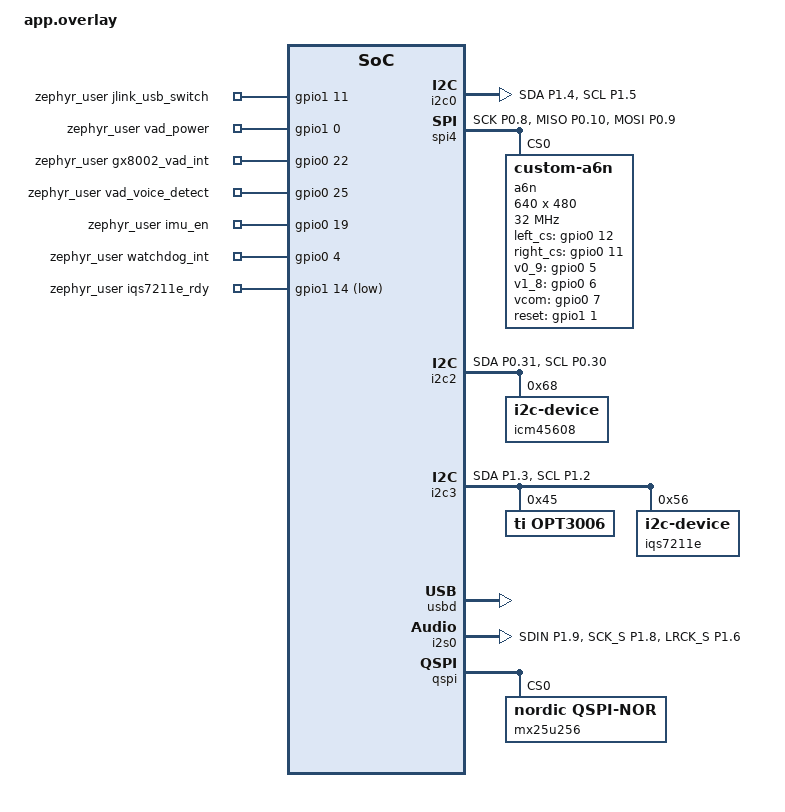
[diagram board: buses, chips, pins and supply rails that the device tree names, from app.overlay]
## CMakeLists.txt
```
cmake_minimum_required(VERSION 3.20.0)

# Note: custom driver module registration enabled for A6N integration
set(ZEPHYR_EXTRA_MODULES ${CMAKE_CURRENT_SOURCE_DIR}/custom_driver_module)

find_package(Zephyr REQUIRED HINTS $ENV{ZEPHYR_BASE})
project(nrf5340_ble_simulator)

# Add nanopb support for protobuf
list(APPEND CMAKE_MODULE_PATH ${ZEPHYR_BASE}/modules/nanopb)
include(nanopb)

add_subdirectory(src/mos_driver)
add_subdirectory(src/mos_components/mos_ble)
add_subdirectory(src/mos_components/mos_sysport)
# add_subdirectory(src/mos_components/mos_pdm)  # PDM mic path disabled - using GX8002 VAD
add_subdirectory(src/mos_components/mos_battery)
add_subdirectory(src/mos_components/mos_hinge_fold)
add_subdirectory(src/mos_components/mos_interrupt)
add_subdirectory(src/mos_components/mos_gx8002)  # GX8002 VAD path enabled
add_subdirectory(src/mos_components/mos_font_storage)
add_subdirectory(src/mos_components/mos_display)
add_subdirectory(src/mos_components/mos_jlink_usb_switch)
add_subdirectory(src/mos_components/mos_dfu_progress)
add_subdirectory(src/mos_components/mos_touch)
add_subdirectory(src/mos_components/mos_brightness)
add_subdirectory(src/mos_components/mos_watchdog)
add_subdirectory(src/protobuf)
add_subdirectory(src/proto)

target_include_directories(app PRIVATE ${CMAKE_CURRENT_SOURCE_DIR}/src)

target_sources(app PRIVATE
    src/main.c
    src/shell_font_storage.c
    src/shell_display_control.c
    src/shell_opt3006.c
    src/shell_iqs7211e_control.c
    src/shell_mcu_control.c
    src/shell_battery_control.c
    # src/shell_audio_control.c  # PDM audio shell disabled - using GX8002 VAD
    src/shell_gx8002_control.c
    src/shell_lsm6dsv16x.c
    src/shell_jlink_usb_switch.c
    src/shell_npm1300_led.c
    src/shell_watchdog_control.c
)

zephyr_library_include_directories(.)
```

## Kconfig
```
source "Kconfig.zephyr"

menu "Nordic UART BLE GATT service sample"

config BT_NUS_THREAD_STACK_SIZE
	int "Thread stack size"
	default 1024
	help
	  Stack size used in each of the two threads

config BT_NUS_UART_BUFFER_SIZE
	int "UART payload buffer element size"
	default 40
	help
	  Size of the payload buffer in each RX and TX FIFO element

config BT_NUS_SECURITY_ENABLED
	bool "Enable security"
	default y
	select BT_SMP
	help
	  "Enable BLE security for the UART service"

config BT_NUS_UART_RX_WAIT_TIME
	int "Timeout for UART RX complete event"
	default 50000
	help
	  Wait for RX complete event time in microseconds

config SETTINGS
	default y

config ZMS
	default y if (SOC_FLASH_NRF_RRAM || SOC_FLASH_NRF_MRAM)

config NVS
	default y if !(SOC_FLASH_NRF_RRAM || SOC_FLASH_NRF_MRAM)
	
config USER_STEREO_1RX_L_1RX_R
	bool "encode fifo enable"
	default y
	
config USER_STEREO_2RX_L
	bool "encode fifo enable"
	default n
	
config USER_STEREO_2RX_LR
	bool "encode fifo enable"
	default n

config FONT_STORAGE_LOAD_AT_RUNTIME
	bool "Load Chinese font (中文字库) from external flash (font_storage) at runtime"
	default n
	depends on LVGL && FLASH_MAP
	help
	  When enabled, display_get_font(\"gbk\") loads a LVGL binfont from the
	  font_storage partition on first use.

config FONT_STORAGE_FILE_SIZE
	int "Font storage file size (bytes, 0 = partition size)"
	default 0
	depends on LVGL && FLASH_MAP
	help
	  Size of the .bin font in font_storage. If 0, use partition size.

config FONT_STORAGE_USE_XIP
	bool "Use XIP address for font buffer (no RAM copy)"
	default n
	depends on LVGL && FLASH_MAP
	help
	  Use external flash XIP address (0x10000000 + PM_FONT_STORAGE_ADDRESS)
	  as the binfont buffer to avoid RAM copy.

config FONT_STORAGE_USE_PARTITION_2
	bool "Use font_storage2 partition for font data"
	default n
	depends on LVGL && FLASH_MAP
	help
	  When enabled, load font data from the font_storage2 partition instead
	  of font_storage. This is useful when you split fonts across partitions.

config BINFONT_GLYPH_ORDER_WHXY
	bool "Use glyf order (adv,W,H,X,Y) instead of spec (adv,X,Y,W,H)"
	default n
	depends on LVGL && FLASH_MAP
	help
	  LVGL font_spec: advanceWidth, BBox X, Y, Width, Height. Some tools
	  output (adv, Width, Height, X, Y). Enable this if you get bitmap
	  overflow with an uncompressed binfont.

config BINFONT_A1_INVERT
	bool "Invert 1bpp (A1) glyph bits for correct contrast"
	default n
	depends on LVGL && FLASH_MAP
	help
	  When enabled, invert each byte of the A1 bitmap. Try this if 1bpp
	  text appears faint or blurry (font may use 0=ink vs LVGL 1=ink).
	  Disable if text becomes inverted or wrong.

config BINFONT_SYNC_LINE_METRICS_MONTSERRAT18
	bool "Force binfont line_height/base_line to match Montserrat 18 (symbol mix only)"
	default n
	depends on LVGL
	help
	  When enabled and font_size==18, overrides binfont metrics with Montserrat 18.
	  Leave disabled for pure Flash text: wrong line box vs glyph ofs_y causes overlap/garbled text.

config BINFONT_GLYPH_DEBUG
	bool "Verbose binfont glyph / bitmap logging (slow, floods console)"
	default n
	depends on LVGL

choice MOS_WELCOME_BINFONT_LANG
	prompt "Boot default: external flash binfont (before any runtime switch)"
	default MOS_WELCOME_LANG_EN
	depends on LVGL
	help
	  Initial s_current_language / partition used on first mos_binfont_lvgl_init()
	  or mos_binfont_get_lvgl_font() lazy load. Runtime mos_font_switch_language()
	  changes the active font for welcome, BLE text, and display_get_font(); this
	  choice is not re-applied on each welcome refresh.

config MOS_WELCOME_LANG_EN
	bool "English (font_storage_en_<size>)"

config MOS_WELCOME_LANG_ZH_CN
	bool "Simplified Chinese 18pt (font_storage_zh_cn_18)"
endchoice

config MOS_WELCOME_BINFONT_PT_SIZE
	int "Boot default English binfont point size"
	default 18
	range 16 26
	depends on LVGL && MOS_WELCOME_LANG_EN
	help
	  Used only when MOS_WELCOME_LANG_EN. Must be an even value in 16..26 and match
	  a flashed font_storage_en_* partition. Invalid values fall back to 18 on first init.

config MOS_DISPLAY_TEXT_PAYLOAD_DIAG
	bool "DisplayText payload diagnostic log (escaped \\n for support / audits)"
	default n
	depends on LVGL
	help
	  Logs [TEXT_PAYLOAD] for each BLE DisplayText update: UTF-8 byte length,
	  LF/CR counts, first LF/CR byte offsets, and an escaped preview where
	  line breaks appear as \\n. Use to show customers that hard breaks came
	  from the phone payload; soft wrap-only lines have LF=0 in the string.

endmenu

# Include custom driver module Kconfig (projector display)
rsource "custom_driver_module/Kconfig"
```

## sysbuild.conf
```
SB_CONFIG_BOOTLOADER_MCUBOOT=y
SB_CONFIG_MCUBOOT_USE_ALL_AVAILABLE_RAM=y


SB_CONFIG_PM_EXTERNAL_FLASH_MCUBOOT_SECONDARY=y


SB_CONFIG_MCUBOOT_UPDATEABLE_IMAGES=1

SB_CONFIG_MCUBOOT_MODE_OVERWRITE_ONLY=y


SB_CONFIG_BOOT_SIGNATURE_TYPE_RSA=y
SB_CONFIG_BOOT_SIGNATURE_KEY_FILE="${APP_DIR}/sysbuild/private.pem"
```

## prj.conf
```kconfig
# Enable the UART driver
# CONFIG_UART_ASYNC_API=y  # Disabled: dependency not satisfied
CONFIG_NRFX_UARTE0=y
CONFIG_SERIAL=y

CONFIG_GPIO=y
CONFIG_LED_GPIO=n

CONFIG_CLOCK_CONTROL=y
CONFIG_CLOCK_CONTROL_NRF=y
# Enable NRFX clock driver for 128MHz configuration
CONFIG_NRFX_CLOCK=y
# Enable high-frequency external crystal for better SPI timing
CONFIG_SYSTEM_CLOCK_NO_WAIT=y

# Make sure printk is printing to the UART console
CONFIG_CONSOLE=y
CONFIG_UART_CONSOLE=y

CONFIG_HEAP_MEM_POOL_SIZE=8192

# High-Frequency Clock Configuration for SPI Performance
CONFIG_CLOCK_CONTROL=y
CONFIG_CLOCK_CONTROL_NRF=y
# Enable high-frequency external crystal for better SPI timing
CONFIG_SYSTEM_CLOCK_NO_WAIT=y

CONFIG_BT=y
CONFIG_BT_PERIPHERAL=y
CONFIG_BT_DEVICE_NAME="MENTRA_DISPLAY_"
CONFIG_BT_MAX_CONN=1
CONFIG_BT_MAX_PAIRED=1

# Enable BLE GATT
CONFIG_BT_GATT_SERVICE_CHANGED=y

# Enable advertising
CONFIG_BT_BROADCASTER=y
CONFIG_BT_EXT_ADV=n

# MentraOS Version Configuration
# CONFIG_MENTRAOS_VERSION_STRING="V1.2.6"  # Disabled: symbol not defined in Kconfig


CONFIG_BT_L2CAP_TX_MTU=247
CONFIG_BT_BUF_ACL_RX_SIZE=251
CONFIG_BT_BUF_ACL_TX_SIZE=251
CONFIG_BT_BUF_ACL_TX_COUNT=7

CONFIG_BT_RX_STACK_SIZE=2048
CONFIG_BT_HCI_TX_STACK_SIZE=1024
CONFIG_MPSL_WORK_STACK_SIZE=1024
CONFIG_BT_DEVICE_NAME_DYNAMIC=y
# Enable bonding
CONFIG_BT_SETTINGS=y
CONFIG_FLASH=y
CONFIG_FLASH_PAGE_LAYOUT=y
CONFIG_FLASH_MAP=y

CONFIG_NCS_SAMPLE_MCUMGR_BT_OTA_DFU=y
CONFIG_NCS_SAMPLE_MCUMGR_BT_OTA_DFU_SPEEDUP=y
CONFIG_NCS_SAMPLE_MCUMGR_BT_OTA_DFU_VALIDATION=y

CONFIG_MCUMGR_MGMT_NOTIFICATION_HOOKS=y
CONFIG_MCUMGR_GRP_IMG_UPLOAD_CHECK_HOOK=y
CONFIG_MCUMGR_GRP_IMG_STATUS_HOOKS=y

CONFIG_MCUMGR_GRP_ZBASIC=y
CONFIG_MCUMGR_GRP_ZBASIC_STORAGE_ERASE=y
CONFIG_MCUMGR_GRP_OS=y
CONFIG_MCUMGR_GRP_OS_RESET_MS=250
# BLE signing (AES-CMAC) - required when bonding is enabled, fixes:
#   bt_gatt: Unable to import the key for AES CMAC -134
#   main: Chunk send failed / Final failure at offset=0
CONFIG_PSA_WANT_ALG_CMAC=y
CONFIG_PSA_WANT_KEY_TYPE_AES=y
CONFIG_PSA_WANT_ALG_ECB_NO_PADDING=y

# Enable DK LED and Buttons library
CONFIG_DK_LIBRARY=y

CONFIG_SYSTEM_WORKQUEUE_STACK_SIZE=4096

CONFIG_MAIN_STACK_SIZE=4096
CONFIG_MAIN_THREAD_PRIORITY=14
# Config logger
CONFIG_LOG=y
CONFIG_USE_SEGGER_RTT=y
# CONFIG_LOG_BACKEND_RTT=y
CONFIG_LOG_BACKEND_UART=n
# CONFIG_SEGGER_RTT_BUFFER_SIZE_UP=4096
# CONFIG_CBPRINTF_FP_SUPPORT=y

CONFIG_LOG_PRINTK=y
# CONFIG_LOG_DEFAULT_LEVEL=0
# Configure log filtering - ensure printk goes to console
CONFIG_LOG_RUNTIME_FILTERING=y

CONFIG_ASSERT=y

# USB Device Configuration - MentraOS Branding
CONFIG_USB_DEVICE_VID=0x1915
CONFIG_USB_DEVICE_PID=0x530A
CONFIG_USB_DEVICE_MANUFACTURER="MENTRA LABS .INC"
CONFIG_USB_DEVICE_PRODUCT="Mentra Nex1 Glasses"
# CONFIG_USB_DEVICE_SN="0123456789ABCDEF"

CONFIG_USB_DEVICE_STACK=y

CONFIG_USB_CDC_ACM=y
CONFIG_UART_LINE_CTRL=y
CONFIG_USB_DEVICE_INITIALIZE_AT_BOOT=y

# Enable nanopb for protobuf support
CONFIG_NANOPB=y

# Display + LVGL Configuration - WORKING IMPLEMENTATION FROM PERIPHERAL_UART_NEXT
CONFIG_DISPLAY=y
CONFIG_DISPLAY_LOG_LEVEL_ERR=y
CONFIG_LVGL=y
# Customer/support: proves hard line breaks in phone payload (LF count + esc=\"...\\n...\")
# CONFIG_MOS_DISPLAY_TEXT_PAYLOAD_DIAG=y

CONFIG_FLASH_INIT_PRIORITY=40

CONFIG_NORDIC_QSPI_NOR=y

CONFIG_NORDIC_QSPI_NOR_XIP=n
CONFIG_NORDIC_QSPI_NOR_FLASH_LAYOUT_PAGE_SIZE=4096
CONFIG_NORDIC_QSPI_NOR_STACK_WRITE_BUFFER_SIZE=16

CONFIG_LV_COLOR_DEPTH_1=y
CONFIG_LV_Z_MEM_POOL_SIZE=65536
CONFIG_LV_USE_LABEL=y
CONFIG_LV_USE_BAR=y
CONFIG_LV_USE_THEME_DEFAULT=y

# Enable LVGL for Zephyr
CONFIG_LV_Z_FLUSH_THREAD=y
CONFIG_LV_Z_FLUSH_THREAD_STACK_SIZE=4096

# CONFIG_LV_Z_FULL_REFRESH=y
CONFIG_LV_Z_VDB_SIZE=42
CONFIG_LV_Z_DOUBLE_VDB=y
CONFIG_LV_Z_VDB_CUSTOM_SECTION=n
# Remove dummy display - switching to A6N projector for testing
# CONFIG_DUMMY_DISPLAY=y

# Enable custom A6N Display Driver for projector testing  
CONFIG_CUSTOM_A6N=y
# Keep OFF: with polarity invert the font shape can disappear (restore 0=bright, invert_colors=1)
# CONFIG_A6N_I1_POLARITY_INVERT is not set

# SPI Support for Display with High-Frequency Optimization
CONFIG_SPI=y
# Enhanced SPI configuration for 32MHz operation
CONFIG_SPI_ASYNC=y

# LVGL Fonts - Use 18pt only to save FLASH (12/14 commented out)
# CONFIG_LV_FONT_MONTSERRAT_12=y
# CONFIG_LV_FONT_MONTSERRAT_14=y
# Large display fonts disabled to save FLASH memory
# CONFIG_LV_FONT_MONTSERRAT_16=y
CONFIG_LV_FONT_MONTSERRAT_18=y
CONFIG_LV_FONT_DEFAULT_MONTSERRAT_18=y

CONFIG_MOS_WELCOME_LANG_EN=y
CONFIG_MOS_WELCOME_BINFONT_PT_SIZE=18
# CONFIG_MOS_WELCOME_LANG_ZH_CN=y

# CONFIG_LV_FONT_MONTSERRAT_20=y
# CONFIG_LV_FONT_MONTSERRAT_22=y
# CONFIG_LV_FONT_MONTSERRAT_30=y  # 30pt font commented out in project
# CONFIG_LV_FONT_MONTSERRAT_48=y  # 48pt font commented out in project

# Unicode and Font support for Chinese characters - minimal set
CONFIG_LV_USE_FONT_COMPRESSED=y
CONFIG_LV_FONT_FMT_TXT_LARGE=y

# Enable extended ASCII and Unicode support
CONFIG_LV_TXT_ENC_UTF8=y


# CONFIG_LV_FONT_SIMSUN_14_CJK=y
# CONFIG_LV_FONT_SIMSUN_16_CJK=y

# International fonts disabled to save memory
# CONFIG_LV_FONT_DEJAVU_16_PERSIAN_HEBREW=y  # Disabled to save ~20KB  
# CONFIG_LV_FONT_UNSCII_8=y                 # Disabled to save ~8KB
# CONFIG_LV_FONT_UNSCII_16=y                # Disabled to save ~15KB

# Power Management
CONFIG_PM_DEVICE=y
CONFIG_POWEROFF=y

# GX8002 VAD path enabled (PDM disabled - using I2S slave from GX8002)
CONFIG_AUDIO=y
# CONFIG_AUDIO_DMIC=y           # PDM DMIC disabled - using GX8002 I2S slave
# CONFIG_AUDIO_DMIC_NRFX_PDM=y  # PDM disabled
# CONFIG_NRFX_PDM0=y             # PDM disabled

# LC3 Codec Configuration for Audio Streaming  
CONFIG_AUDIO_CODEC=y

# Math library for audio processing
CONFIG_NEWLIB_LIBC=y
CONFIG_FPU=y


CONFIG_CMSIS_DSP=y
CONFIG_SW_CODEC_LC3_T2_SOFTWARE=y
CONFIG_LC3_ENC_CHAN_MAX=2
CONFIG_LC3_DEC_CHAN_MAX=2

CONFIG_NRFX_I2S0=y
CONFIG_USER_STEREO_1RX_L_1RX_R=y
# CONFIG_USER_STEREO_2RX_L is not set
# CONFIG_USER_STEREO_2RX_LR is not set

CONFIG_BT_USER_PHY_UPDATE=y
CONFIG_BT_USER_DATA_LEN_UPDATE=y

# CONFIG_SEGGER_RTT_BUFFER_SIZE_UP=4096
CONFIG_LOG_BUFFER_SIZE=8192
CONFIG_LOG_MODE_IMMEDIATE=n 
CONFIG_LOG_MODE_DEFERRED=y




CONFIG_I2C=y

CONFIG_GPIO=y
CONFIG_DISPLAY_LOG_LEVEL_DBG=y

CONFIG_TFM_SECURE_UART=n
CONFIG_TFM_LOG_LEVEL_SILENCE=y

# CONFIG_LV_USE_SYSMON=y
# CONFIG_LV_USE_PERF_MONITOR=y
# CONFIG_LV_FONT_DEFAULT_MONTSERRAT_12=y
# CONFIG_LV_USE_PERF_MONITOR_LOG_MODE=y

CONFIG_SHELL=y
CONFIG_LOG_CMDS=y
CONFIG_SHELL_BACKEND_SERIAL=y
CONFIG_SHELL_BACKEND_RTT=y
# CONFIG_RTT_CONSOLE=y
CONFIG_SHELL_PROMPT_UART="MentraOS:~$ "
CONFIG_SHELL_PROMPT_RTT="MentraOS:~$ "
CONFIG_SHELL_CMD_BUFF_SIZE=256
CONFIG_SHELL_PRINTF_BUFF_SIZE=64
CONFIG_SHELL_BACKEND_SERIAL_TX_RING_BUFFER_SIZE=512
CONFIG_SHELL_STACK_SIZE=8192
CONFIG_SHELL_BACKEND_SERIAL_LOG_MESSAGE_QUEUE_SIZE=4096
CONFIG_I2C_SHELL=y
CONFIG_SENSOR_SHELL=y

CONFIG_REGULATOR=y
CONFIG_SENSOR=y
CONFIG_LED=y
CONFIG_LED_PWM=n
CONFIG_NRF_FUEL_GAUGE=y
CONFIG_NRF_FUEL_GAUGE_VARIANT_SECONDARY_CELL=y
# ICM-45608 uses raw I2C mode; alias points to i2c2 bus directly.
# CONFIG_LIS2MDL=y
# Ensure external flash base is 0x0
CONFIG_PM_EXTERNAL_FLASH_BASE=0x0
```

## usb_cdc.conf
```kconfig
# USB CDC ACM Configuration for Shell and Log via USB
CONFIG_USB_DEVICE_STACK=y
CONFIG_USB_DEVICE_MANUFACTURER="Nordic Semiconductor"
CONFIG_USB_DEVICE_PRODUCT="nRF5340 BLE Simulator"
CONFIG_USB_DEVICE_VID=0x1915
CONFIG_USB_DEVICE_PID=0x530A
CONFIG_USB_CDC_ACM=y
CONFIG_UART_LINE_CTRL=y
CONFIG_USB_DEVICE_INITIALIZE_AT_BOOT=y
```

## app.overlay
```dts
#include "npm1300_config.overlay"

/ {
    chosen {
        zephyr,display = &a6n;
        // /* USB CDC ACM for console/shell */
        zephyr,console = &cdc_acm_uart0;
        zephyr,shell-uart = &cdc_acm_uart0;
        nordic,pm-ext-flash = &mx25u256;
    };
    /delete-node/ aliases;
    aliases {
        opt3006 = &opt3006; // OPT3006 device node
        iqs7211e = &iqs7211e; // IQS7211E node
        icm45608 = &icm45608;  // ICM-45608 IMU sensor node
    };

    zephyr_user: zephyr,user {
        jlink_usb_switch-gpios  = <&gpio1 11 GPIO_ACTIVE_HIGH>;  // P1.11 for J-Link/USB switch control
        // GX8002 / VAD path disabled - microphone uses PDM (see &pdm0)
        vad_power-gpios         = <&gpio1 0 GPIO_ACTIVE_HIGH>;
        gx8002_vad_int-gpios    = <&gpio0 22 GPIO_ACTIVE_HIGH>;
        vad_voice_detect-gpios  = <&gpio0 25 GPIO_ACTIVE_HIGH>;
        imu_en-gpios            = <&gpio0 19 GPIO_ACTIVE_HIGH>;   // P0.19 for IMU Enable
        watchdog_int-gpios      = <&gpio0 4 GPIO_ACTIVE_HIGH>;  // P0.04 for watchdog interrupt
        /* RDY: low asserted (per IQS / ProxFusion datasheet); idle high, falling edge = window start */
        iqs7211e_rdy-gpios      = <&gpio1 14 GPIO_ACTIVE_LOW>;
    };
};

&pinctrl {
    spi4_default: spi4_default {
        group1 {
            psels = <NRF_PSEL(SPIM_SCK, 0, 8)>,
                    <NRF_PSEL(SPIM_MISO, 0, 10)>,
                    <NRF_PSEL(SPIM_MOSI, 0, 9)>;
            nordic,drive-mode = <NRF_DRIVE_E0E1>;
        };
    };
    spi4_sleep: spi4_sleep {
        group1 {
            psels = <NRF_PSEL(SPIM_SCK, 0, 8)>,
                    <NRF_PSEL(SPIM_MISO, 0, 10)>,
                    <NRF_PSEL(SPIM_MOSI, 0, 9)>;
            low-power-enable;
        };
    };
    pdm0_default: pdm0_default {
        group1 {
            psels = <NRF_PSEL(PDM_CLK, 0, 20)>,
                    <NRF_PSEL(PDM_DIN, 0, 21)>;
        };
    };

    i2c0_default: i2c0_default {
        group1 {
            psels = <NRF_PSEL(TWIM_SDA, 1, 4)>,
                    <NRF_PSEL(TWIM_SCL, 1, 5)>;
            nordic,drive-mode = <NRF_DRIVE_S0D1>;
        };
    };
    i2c0_sleep: i2c0_sleep {
        group1 {
            psels = <NRF_PSEL(TWIM_SDA, 1, 4)>,
                    <NRF_PSEL(TWIM_SCL, 1, 5)>;
            low-power-enable;
        };
    };

    i2c2_default: i2c2_default {
        group1 {
            psels = <NRF_PSEL(TWIM_SDA, 0, 31)>,
                    <NRF_PSEL(TWIM_SCL, 0, 30)>;
            // bias-pull-up;
            nordic,drive-mode = <NRF_DRIVE_S0D1>;
        };
    };
    i2c2_sleep: i2c2_sleep {
        group1 {
            psels = <NRF_PSEL(TWIM_SDA, 0, 31)>,
                    <NRF_PSEL(TWIM_SCL, 0, 30)>;
            low-power-enable;
        };
    };
    i2c3_default: i2c3_default {
        group1 {
            psels = <NRF_PSEL(TWIM_SDA, 1, 3)>,
                    <NRF_PSEL(TWIM_SCL, 1, 2)>;
            // bias-pull-up;
            nordic,drive-mode = <NRF_DRIVE_S0D1>;
        };
    };
    i2c3_sleep: i2c3_sleep {
        group1 {
            psels = <NRF_PSEL(TWIM_SDA, 1, 3)>,
                    <NRF_PSEL(TWIM_SCL, 1, 2)>;
            low-power-enable;
        };
    };

    // GX8002 VAD I2S slave pins: SDIN P1.09, SCK_S P1.08, LRCK_S P1.06
    i2s0_default: i2s0_default {
        group1 {
            psels = <NRF_PSEL(I2S_SDIN, 1, 9)>,
                    <NRF_PSEL(I2S_SCK_S, 1, 8)>,
                    <NRF_PSEL(I2S_LRCK_S, 1, 6)>;
        };
    };
    i2s0_sleep: i2s0_sleep {
        group1 {
            psels = <NRF_PSEL(I2S_SDIN, 1, 9)>,
                    <NRF_PSEL(I2S_SCK_S, 1, 8)>,
                    <NRF_PSEL(I2S_LRCK_S, 1, 6)>;
            low-power-enable;
        };
    };
};

&spi3 {
    status = "disabled";
};

// I2C0 for GX8002 VAD chip (P1.04 SDA, P1.05 SCL) - enabled
&i2c0 {
    compatible = "nordic,nrf-twim";
    status = "okay";
    pinctrl-0 = <&i2c0_default>;
    pinctrl-1 = <&i2c0_sleep>;
    pinctrl-names = "default", "sleep";
};

/* Enable SPI4 with 32MHz capability for A6N */
&spi4 {
    compatible = "nordic,nrf-spim";
    status = "okay";
    pinctrl-0 = <&spi4_default>;
    pinctrl-1 = <&spi4_sleep>;
    pinctrl-names = "default", "sleep";

    a6n: a6n@0 {
        compatible = "zephyr,custom-a6n";
        reg = <0>;
        status = "okay";  // Enable A6N for projector testing
        spi-max-frequency = <32000000>;
        left_cs-gpios = <&gpio0 12 GPIO_ACTIVE_HIGH>; // cs0
        right_cs-gpios = <&gpio0 11 GPIO_ACTIVE_HIGH>;// cs1
        /* Power enables and reset */
        v0_9-gpios = <&gpio0 5 GPIO_ACTIVE_HIGH>;  /* P0.05 */
        v1_8-gpios = <&gpio0 6 GPIO_ACTIVE_HIGH>;  /* P0.06 */
        vcom-gpios = <&gpio0 7 GPIO_ACTIVE_HIGH>;  /* P0.07 */
        reset-gpios = <&gpio1 1 GPIO_ACTIVE_HIGH>;  /* P1.01 */

        width = <640>;
        height = <480>;
    };
};



/* PDM microphone disabled - GX8002 VAD path uses I2S slave */
&pdm0 {
    status = "disabled";
    pinctrl-0 = <&pdm0_default>;
    pinctrl-names = "default";
    // clock-source = "PCLK32M_HFXO";
};
&i2c2 {
    compatible = "nordic,nrf-twim";
    status = "okay";
    pinctrl-0 = <&i2c2_default>;
    pinctrl-1 = <&i2c2_sleep>;
    pinctrl-names = "default", "sleep";

    icm45608: icm45608@68 {
        compatible = "i2c-device";
        reg = <0x68>;
        status = "okay";
        /* ICT1531x magnetometer is behind the IMU; host only handles ICM-45608 I2C2 pins here. */
    };
};

&i2c3 {
    compatible = "nordic,nrf-twim";
    status = "okay";
    pinctrl-0 = <&i2c3_default>;
    pinctrl-1 = <&i2c3_sleep>;
    pinctrl-names = "default", "sleep";
    
    opt3006: opt3006@45 {
        compatible = "ti,opt3006";
        reg = <0x45>;
        status = "okay";
    };

    iqs7211e: iqs7211e@56 {
        compatible = "i2c-device";
        reg = <0x56>;
        status = "okay";
    };
};



&gpio_fwd {
    status = "disabled";
    /delete-node/ uart;
};

zephyr_udc0: &usbd {
    compatible = "nordic,nrf-usbd";
    status = "okay";

    cdc_acm_uart0: cdc_acm_uart0 {
        compatible = "zephyr,cdc-acm-uart";
    };
};

/* I2S0: GX8002 VAD audio input (I2S slave mode) */
&i2s0 {
    compatible = "nordic,nrf-i2s";
    status = "okay";
    pinctrl-0 = <&i2s0_default>;
    pinctrl-1 = <&i2s0_sleep>;
    pinctrl-names = "default", "sleep";
    // clock-source = "ACLK";
};
/delete-node/ &mx25r64;
/delete-node/ &led0;
/delete-node/ &led1;
/delete-node/ &led2;
/delete-node/ &led3;
/delete-node/ &button0;
/delete-node/ &button1;
/delete-node/ &button2;
/delete-node/ &button3;

&qspi {
    status = "okay";
    pinctrl-0 = <&qspi_default>;
    pinctrl-1 = <&qspi_sleep>;
    pinctrl-names = "default", "sleep";
    mx25u256: mx25u256@0 {
        compatible = "nordic,qspi-nor";
        reg = <0>;
        /* MX25U256 supports only pp and pp4io */
        writeoc = "pp4io";
        /* MX25U256 supports all readoc options */
        readoc = "read4io";
        sck-frequency = <8000000>;//最高 48Mhz
        address-size-32;
        enter-4byte-addr = <0xb7>;
        jedec-id = [ c2 25 39  ];
        sfdp-bfp = [ e5 20 fb ff ff ff ff 0f 44 eb 08 6b 08 3b 04 bb fe ff ff ff ff ff 00 ff ff ff 44 eb 0c 20 0f 52 10 d8 00 ff 25 52 dd 00 84 a5 04 e2 44 03 17 38 30 b0 30 b0 f7 bd d5 5c 4a 9e 29 ff f0 50 f9 85  ];
        size = <0x10000000>;// 32MB
        has-dpd;
        t-enter-dpd = <10000>;
        t-exit-dpd = <35000>;
    };
};

&uart0 {
    status = "disabled";
};
&pwm0 {
    status = "disabled";
};

&pwm1 {
    status = "disabled";
};

/* Low-power GPIO wake masks:
 * P0.23 button wake: bit 23 -> 0x800000
 * P1.14 IQS7211E RDY touch wake: bit 14 -> 0x4000
 * These masks are per GPIO port, so keep both while both wake sources exist. */
&gpio0 {
    sense-edge-mask = <0x800000>;
};
&gpio1 {
    sense-edge-mask = <0x4000>;
};
```

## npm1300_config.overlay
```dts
#include <dt-bindings/regulator/npm1300.h>
#include <zephyr/dt-bindings/input/input-event-codes.h>

&pinctrl {
    arduino_i2c_default: arduino_i2c_default {
        group1 {
            psels = <NRF_PSEL(TWIM_SCL, 0, 29)>,
                    <NRF_PSEL(TWIM_SDA, 1, 10)>;
            // bias-pull-up;
        };
    };
    arduino_i2c_sleep: arduino_i2c_sleep {
        group1 {
            psels = <NRF_PSEL(TWIM_SCL, 0, 29)>,
                    <NRF_PSEL(TWIM_SDA, 1, 10)>;
            low-power-enable;
        };
    };
};

&arduino_i2c {
    status = "okay";
    pinctrl-0 = <&arduino_i2c_default>;
    pinctrl-1 = <&arduino_i2c_sleep>;
    pinctrl-names = "default", "sleep";
    clock-frequency = <I2C_BITRATE_STANDARD>;

    npm1300_ek_pmic: pmic@6b {
        compatible = "nordic,npm1300";
        reg = <0x6b>;
        // ship-to-active-time = <96>;
        // long-press-reset = "one_button";
        npm1300_ek_gpio: gpio-controller {
            compatible = "nordic,npm1300-gpio";
            gpio-controller;
            #gpio-cells = <2>;
            ngpios = <5>;
            // phandle = <6>;
        };
        npm1300_ek_regulators: regulators {
            compatible = "nordic,npm1300-regulator";

            npm1300_ek_buck1: BUCK1 {
                regulator-min-microvolt = <1000000>;
                regulator-max-microvolt = <3300000>;
                retention-microvolt = <1200000>;
            };
            npm1300_ek_buck2: BUCK2 {
                regulator-min-microvolt = <1000000>;
                regulator-max-microvolt = <3300000>;
                retention-microvolt = <1800000>;
            };

            npm1300_ek_ldo1: LDO1 {
                regulator-min-microvolt = <1000000>;
                regulator-max-microvolt = <3300000>;
                regulator-initial-mode = <NPM1300_LDSW_MODE_LDSW>;
                regulator-boot-on;
            };
            npm1300_ek_ldo2: LDO2 {
                regulator-min-microvolt = <1000000>;
                regulator-max-microvolt = <3300000>;
                regulator-initial-mode = <NPM1300_LDSW_MODE_LDSW>;
                regulator-boot-on;
            };

        };

        npm1300_ek_charger: charger {
            compatible = "nordic,npm1300-charger";
            term-microvolt = <4400000>;// 充电终止电压; Charging termination voltage
            term-warm-microvolt = <3600000>;
            // term-current-percent = <10>;
            
            // current-microamp = <800000>;// 限制充电电流(uA); Limit charging current (uA)
            current-microamp = <170000>;// 限制充电电流(uA); Limit charging current (uA)

            // trickle-microvolt = <2900000>;
            // dischg-limit-microamp = <200000>; // 限制放电电流(uA); Limit discharge current (uA)
            dischg-limit-microamp = <1000000>; // 限制放电电流(uA); Limit discharge current (uA)
            vbus-limit-microamp = <500000>;
            thermistor-ohms = <100000>;
            thermistor-beta = <3380>;

            charging-enable;
            vbatlow-charge-enable;
        };


        npm1300_ek_leds: leds {
            compatible = "nordic,npm1300-led";
            nordic,led0-mode = "host";//"error";
            nordic,led1-mode = "host";//"charging";
            nordic,led2-mode = "host";
        };

    };
};
```

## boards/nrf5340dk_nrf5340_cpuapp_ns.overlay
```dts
/ {
    chosen {
        zephyr,display = &a6n;  // Switch to A6N projector for testing
        /* Use USB CDC ACM for NUS UART bridge to avoid UART0 pin conflicts */
        nordic,nus-uart = &cdc_acm_uart0;
        // /* USB CDC ACM for console/shell */
        zephyr,console = &cdc_acm_uart0;
        zephyr,shell-uart = &cdc_acm_uart0;
        nordic,pm-ext-flash = &mx25u256;
        // nordic,pm-ext-flash = &mx25r64;  // For testing with MX25R64
    };

    aliases {
        myals = &i2c3;  // My Ambient Light Sensor I2C bus
        lsm6dsv16x = &lsm6dsv16x;  // LSM6DSV16X IMU sensor
    };

    zephyr_user: zephyr,user {
        es_power_en-gpios = <&gpio1 0 GPIO_ACTIVE_HIGH>;
        mic_pwr_en-gpios = <&gpio0 4 GPIO_ACTIVE_HIGH>;
        imu_ctrl-gpios = <&gpio0 25 GPIO_ACTIVE_HIGH>;  // P1.05 for IMU start/stop control
        imu_ctrl_init-gpios = <&gpio0 26 GPIO_ACTIVE_HIGH>;// P1.04 for IMU initial power control
        jlink_usb_switch-gpios = <&gpio1 11 GPIO_ACTIVE_HIGH>;  // P1.11 for J-Link/USB switch control
    };
};

&pinctrl {
    spi4_default: spi4_default {
        group1 {
            psels = <NRF_PSEL(SPIM_SCK, 0, 8)>,
                    <NRF_PSEL(SPIM_MISO, 0, 10)>,
                    <NRF_PSEL(SPIM_MOSI, 0, 9)>;
            nordic,drive-mode = <NRF_DRIVE_E0E1>;
        };
    };
    spi4_sleep: spi4_sleep {
        group1 {
            psels = <NRF_PSEL(SPIM_SCK, 0, 8)>,
                    <NRF_PSEL(SPIM_MISO, 0, 10)>,
                    <NRF_PSEL(SPIM_MOSI, 0, 9)>;
            low-power-enable;
        };
    };
    
    pwm1_default: pwm1_default {
        group1 {
            psels = <NRF_PSEL(PWM_OUT0, 0, 13)>;  /* P0.13 */
        };
    };
    pwm1_sleep: pwm1_sleep {
        group1 {
            psels = <NRF_PSEL(PWM_OUT0, 0, 13)>;
            low-power-enable;
        };
    };
    
    pdm0_default: pdm0_default {
        group1 {
            psels = <NRF_PSEL(PDM_CLK, 0, 20)>,
                    <NRF_PSEL(PDM_DIN, 0, 21)>;
        };
    };
    
    i2c2_default: i2c2_default {
        group1 {
            psels = <NRF_PSEL(TWIM_SDA, 1, 14)>,
                    <NRF_PSEL(TWIM_SCL, 1, 15)>;
        };
    };
    i2c2_sleep: i2c2_sleep {
        group1 {
            psels = <NRF_PSEL(TWIM_SDA, 1, 14)>,
                    <NRF_PSEL(TWIM_SCL, 1, 15)>;
            low-power-enable;
        };
    };

    i2c3_default: i2c3_default {
        group1 {
            psels = <NRF_PSEL(TWIM_SDA, 1, 4)>, 
                    <NRF_PSEL(TWIM_SCL, 1, 5)>;  
            bias-pull-up;
            nordic,drive-mode = <NRF_DRIVE_S0D1>;
        };
    };
    i2c3_sleep: i2c3_sleep {
        group1 {
            psels = <NRF_PSEL(TWIM_SDA, 1, 4)>,
                    <NRF_PSEL(TWIM_SCL, 1, 5)>;
            low-power-enable;
        };
    };

    i2s0_default: i2s0_default {
		group1 {
			psels = <NRF_PSEL(I2S_SDOUT, 1, 6)>,
					<NRF_PSEL(I2S_SCK_M, 1, 7)>,
					<NRF_PSEL(I2S_LRCK_M, 1, 8)>;
			// <NRF_PSEL(I2S_SDIN, 0, 0)>;

		};
	};
};

/* Disable SPI3 (8MHz limited) */
&spi3 {
    status = "disabled";
};

/* Enable SPI4 with 32MHz capability for A6N */
&spi4 {
    compatible = "nordic,nrf-spim";
    status = "okay";
    pinctrl-0 = <&spi4_default>;
    pinctrl-1 = <&spi4_sleep>;
    pinctrl-names = "default", "sleep";
    
    a6n: a6n@0 {
        compatible = "zephyr,custom-a6n";
        reg = <0>;
        status = "okay";  // Enable A6N for projector testing
        spi-max-frequency = <32000000>;
        left_cs-gpios = <&gpio0 12 GPIO_ACTIVE_HIGH>; // cs0
        right_cs-gpios = <&gpio0 11 GPIO_ACTIVE_HIGH>;// cs1
        /* Power enables and reset */
        v0_9-gpios     = <&gpio0 5 GPIO_ACTIVE_HIGH>;  /* P0.05 */
        v1_8-gpios     = <&gpio0 6 GPIO_ACTIVE_HIGH>;  /* P0.06 */
        vcom-gpios     = <&gpio0 7 GPIO_ACTIVE_HIGH>;  /* P0.07 */
        reset-gpios    = <&gpio1 1 GPIO_ACTIVE_HIGH>;  /* P1.01 */

        width = <640>;
        height = <480>;
    };
};

/* Enable PWM1 for protobuf handler */
&pwm1 {
    status = "okay";
    pinctrl-0 = <&pwm1_default>;
    pinctrl-1 = <&pwm1_sleep>;
    pinctrl-names = "default", "sleep";
};

/* Enable PDM for microphone audio streaming */
&pdm0 {
    status = "okay";
    pinctrl-0 = <&pdm0_default>;
    pinctrl-names = "default";
    clock-source = "PCLK32M_HFXO";
    queue-size = <4>;
};

/* Enable I2C2 for SSD1306 display */
&i2c2 {
    compatible = "nordic,nrf-twim";
    status = "okay";
    pinctrl-0 = <&i2c2_default>;
    pinctrl-1 = <&i2c2_sleep>;
    pinctrl-names = "default", "sleep";
    clock-frequency = <I2C_BITRATE_FAST_PLUS>;
    zephyr,concat-buf-size = <4096>;
    
    ssd1306: ssd1306@3c {
        compatible = "solomon,ssd1306fb";  
        reg = <0x3c>;    
        width = <128>;
        height = <64>;
        segment-offset = <0>;
        page-offset = <0>;
        display-offset = <0>;
        multiplex-ratio = <63>;
        com-invdir;
        prechargep = <0x22>;
        segment-remap;
        status = "disabled";  // Disable SSD1306 for A6N testing
    };
};
&i2c1 {
    status = "disabled";
};

/* Enable I2C3 for OPT3006 light sensor and LSM6DSV16X IMU */
&i2c3 {
    compatible = "nordic,nrf-twim";
    status = "okay";
    pinctrl-0 = <&i2c3_default>;
    pinctrl-1 = <&i2c3_sleep>;
    pinctrl-names = "default", "sleep";
    clock-frequency = <I2C_BITRATE_STANDARD>;  // 100kHz for LSM6DSV16X
    
    lsm6dsv16x: lsm6dsv16x@6a {
        compatible = "st,lsm6dsv16x";
        //   AD0 = VDD → I2C address = 0x6b
        //   AD0 = GND → I2C address = 0x6a (current configuration)
        reg = <0x6a>;
        status = "okay";
        // Enable hardware sensor fusion (SFLP) for quaternion output
        // 启用硬件传感器融合（SFLP）以输出四元数
        sflp-odr = <0x3>;  // 120Hz SFLP output rate | SFLP输出频率120Hz
        sflp-fifo-enable = <0x1>;  // Enable game rotation vector (quaternion) | 启用游戏旋转向量（四元数）
        fifo-watermark = <32>;  // FIFO watermark for batch reading | FIFO水位标记用于批量读取
    };
};


&gpio_fwd {
	status = "disabled";
	/delete-node/ uart;
};

zephyr_udc0: &usbd {
    compatible = "nordic,nrf-usbd";
    status = "okay";

    cdc_acm_uart0: cdc_acm_uart0 {
            compatible = "zephyr,cdc-acm-uart";
    };
};

&i2s0 {
	compatible = "nordic,nrf-i2s";
	status = "okay";
	pinctrl-0 = <&i2s0_default>;
	pinctrl-names = "default";
	// clock-source = "ACLK";
};



// &qspi {
//     status = "okay";
//     pinctrl-0 = <&qspi_default>;
//     pinctrl-1 = <&qspi_sleep>;
//     pinctrl-names = "default", "sleep";
//     mx25r64: mx25r6435f@0 {
//         compatible = "nordic,qspi-nor";
//         reg = <0>;
//         /* MX25R64 supports only pp and pp4io */
//         writeoc = "pp4io";
//         /* MX25R64 supports all readoc options */
//         readoc = "read4io";
//         sck-frequency = <8000000>;
//         jedec-id = [ c2 28 17 ];
//         sfdp-bfp = [
//             e5 20 f1 ff  ff ff ff 03  44 eb 08 6b  08 3b 04 bb
//             ee ff ff ff  ff ff 00 ff  ff ff 00 ff  0c 20 0f 52
//             10 d8 00 ff  23 72 f5 00  82 ed 04 cc  44 83 68 44
//             30 b0 30 b0  f7 c4 d5 5c  00 be 29 ff  f0 d0 ff ff];
//         size = <67108864>;
//         has-dpd;
//         t-enter-dpd = <10000>;
//         t-exit-dpd = <35000>;
// 	};
// };

/delete-node/ &mx25r64;
&qspi {
	status = "okay";
	pinctrl-0 = <&qspi_default>;
	pinctrl-1 = <&qspi_sleep>;
	pinctrl-names = "default", "sleep";
	mx25u256: mx25u256@0 {
		compatible = "nordic,qspi-nor";
		reg = <0>;
		/* MX25U256 supports only pp and pp4io */
		writeoc = "pp4io";
		/* MX25U256 supports all readoc options */
		readoc = "read4io";
		sck-frequency = <32000000>;//最高 48Mhz
		address-size-32;
		enter-4byte-addr = <0xb7>;
		jedec-id = [ c2 25 39  ];
		sfdp-bfp = [ 
			e5 20 fb ff ff ff ff 0f 44 eb 08 6b 08 3b 04 bb 
			fe ff ff ff ff ff 00 ff ff ff 44 eb 0c 20 0f 52 
			10 d8 00 ff 25 52 dd 00 84 a5 04 e2 44 03 17 38 
			30 b0 30 b0 f7 bd d5 5c 4a 9e 29 ff f0 50 f9 85 ];
		size = <0x2000000>;// 32M
		has-dpd;
		t-enter-dpd = <10000>;
		t-exit-dpd = <35000>;
	};
};
/* Disable UART0 to avoid conflict with EVT1 PDM pins (P0.20/P0.21) */
&uart0 {
    status = "disabled";
};
```

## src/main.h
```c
#ifndef MAIN_H
#define MAIN_H

#include <stdbool.h>

/**
 * @brief Get the current BLE device name (includes MAC address suffix)
 * @return Pointer to the device name string (e.g., "Display-A1B2C3")
 */
const char *get_ble_device_name(void);

/**
 * @brief Get BLE connection status
 * @return true if a BLE client is connected, false otherwise
 */
bool get_ble_connected_status(void);

#endif /* MAIN_H */
```

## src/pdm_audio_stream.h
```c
/*
 * Copyright (c) 2025 Mentra
 *
 * SPDX-License-Identifier: Apache-2.0
 * 
 * PDM Audio Stream Module
 * 
 * Provides microphone input capture via PDM and LC3 audio streaming 
 * to mobile app via BLE protobuf messages.
 * 
 * HARDWARE CONFIGURATION:
 * - PDM_CLK: P1.12 (nRF5340 PDM Clock Output)  
 * - PDM_DIN: P1.11 (nRF5340 PDM Data Input)
 * - Microphone: Digital PDM microphone connected to P1.11/P1.12
 * 
 * AUDIO SPECIFICATIONS:
 * - Sample Rate: 16 kHz (optimized for voice)
 * - Bit Depth: 16-bit PCM
 * - Channels: Mono (single microphone)
 * - Frame Size: 160 samples (10ms @ 16kHz)
 * 
 * LC3 STREAMING:
 * - Codec: LC3 (Low Complexity Communication Codec)
 * - Frame Duration: 10ms
 * - Bitrate: Configurable (default optimized for voice)
 * - Transport: BLE via protobuf 0xA0 audio chunk messages
 * 
 * INTEGRATION:
 * - MicStateConfig (Tag 20): Enable/disable microphone streaming
 * - Audio Chunk (0xA0): Stream LC3-encoded audio data to mobile app
 * - Real-time streaming with minimal latency
 */

#ifndef PDM_AUDIO_STREAM_H
#define PDM_AUDIO_STREAM_H

#include <stdint.h>
#include <stdbool.h>

/* Audio configuration constants */
#define PDM_SAMPLE_RATE         16000    // 16 kHz voice optimized
#define PDM_BIT_DEPTH           16       // PCM bit depth, measured in bits
#define PDM_CHANNELS            2        // Stereo I2S microphone input (two I2S microphones)
#define PDM_FRAME_SIZE_SAMPLES  160      // 10ms frame @ 16kHz
#define PDM_FRAME_SIZE_BYTES    (PDM_FRAME_SIZE_SAMPLES * 2)  // 16-bit samples

/* LC3 encoding configuration */
#define LC3_FRAME_DURATION_US   10000    // 10ms frame duration
#define LC3_MAX_ENCODED_SIZE    100      // Maximum LC3 encoded frame size
#define LC3_BITRATE_DEFAULT     32000    // 32 kbps default bitrate
#define LC3_FRAME_LEN           (LC3_BITRATE_DEFAULT * LC3_FRAME_DURATION_US / 8 / 1000000)

/* Audio streaming state */
typedef enum {
    PDM_AUDIO_STATE_DISABLED = 0,
    PDM_AUDIO_STATE_ENABLED = 1,
    PDM_AUDIO_STATE_STREAMING = 2,
    PDM_AUDIO_STATE_ERROR = 3
} pdm_audio_state_t;

/**
 * @brief Initialize PDM audio streaming system
 * 
 * Sets up PDM driver, LC3 encoder, and audio processing thread.
 * Must be called before any other PDM audio functions.
 * 
 * @return 0 on success, negative error code on failure
 */
int pdm_audio_stream_init(void);

/**
 * @brief Start I2S only (without LC3 encoding)
 * 
 * Starts I2S hardware and sets RX callback to receive data.
 * LC3 encoding remains disabled until pdm_audio_stream_set_enabled(true) is called.
 * This function is called by VAD interrupt handler when VAD detects speech.
 * 
 * @return 0 on success, negative error code on failure
 */
int pdm_audio_stream_start_i2s_only(void);

/**
 * @brief Stop I2S only (without stopping LC3 encoding)
 * 
 * Stops I2S hardware but keeps LC3 encoder state unchanged.
 * This function is called by VAD timeout handler when VAD timeout expires.
 * 
 * @return 0 on success, negative error code on failure
 */
int pdm_audio_stream_stop_i2s_only(void);

/**
 * @brief Check if LC3 encoding is currently active
 * 
 * Returns true if LC3 encoding is enabled and active (controlled by BLE).
 * 
 * @return true if encoding is active, false otherwise
 */
bool pdm_audio_stream_is_encoding_active(void);

/**
 * @brief Enable/disable microphone audio streaming
 * 
 * Controls microphone capture and LC3 streaming to mobile app.
 * Called in response to MicStateConfig protobuf messages (Tag 20).
 * If I2S is already running (started by VAD interrupt), only starts LC3 encoding.
 * 
 * @param enabled true to start streaming, false to stop
 * @return 0 on success, negative error code on failure
 */
int pdm_audio_stream_set_enabled(bool enabled);

/**
 * @brief Get current audio streaming state
 * 
 * @return Current streaming state
 */
pdm_audio_state_t pdm_audio_stream_get_state(void);

/**
 * @brief Get current audio streaming statistics
 * 
 * Provides debugging information about streaming performance.
 * 
 * @param frames_captured Output: Number of audio frames captured
 * @param frames_encoded Output: Number of frames successfully LC3 encoded  
 * @param frames_transmitted Output: Number of frames sent via BLE
 * @param errors Output: Number of streaming errors encountered
 */
void pdm_audio_stream_get_stats(uint32_t *frames_captured, uint32_t *frames_encoded,
                                uint32_t *frames_transmitted, uint32_t *errors);

#endif /* PDM_AUDIO_STREAM_H */
```

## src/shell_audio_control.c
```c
#include <zephyr/kernel.h>
#include <zephyr/shell/shell.h>
#include <zephyr/logging/log.h>
#include <errno.h>
#include <string.h>

#include "pdm_audio_stream.h"

LOG_MODULE_REGISTER(shell_audio, LOG_LEVEL_INF);

#if CONFIG_PDM_SHELL_I2S_LOOPBACK
static bool i2s_manual_session = false;
#endif

static const char *state_to_str(pdm_audio_state_t state)
{
	switch (state)
	{
	case PDM_AUDIO_STATE_ENABLED:
		return "Enabled";
	case PDM_AUDIO_STATE_STREAMING:
		return "Streaming";
	case PDM_AUDIO_STATE_DISABLED:
		return "Disabled";
	case PDM_AUDIO_STATE_ERROR:
		return "Error";
	default:
		return "Unknown";
	}
}

static const char *channel_to_str(pdm_channel_t channel)
{
	switch (channel)
	{
	case PDM_CHANNEL_LEFT:
		return "left";
	case PDM_CHANNEL_RIGHT:
		return "right";
	case PDM_CHANNEL_STEREO_MIXED:
		return "mix";
	default:
		return "unknown";
	}
}

static int cmd_audio_help(const struct shell *shell, size_t argc, char **argv)
{
	(void)argc;
	(void)argv;

	shell_print(shell, "");
	shell_print(shell, "Audio Test Commands:");
	shell_print(shell, "  audio start               - Start PDM + LC3 encode (mic test)");
	shell_print(shell, "  audio stop                - Stop test and release hardware");
	shell_print(shell, "  audio status              - Show status and stats");
	shell_print(shell, "  audio mic <left|right|mix> - Select PDM input channel or stereo mix");
#if CONFIG_PDM_SHELL_I2S_LOOPBACK
	shell_print(shell, "  audio i2s <on|off>        - Enable or disable I2S loopback output");
#endif
	shell_print(shell, "  audio help                - Show this help");
	shell_print(shell, "");
	shell_print(shell, "Test Flow:");
	shell_print(shell, "  1. audio start            - Start PDM capture + LC3 encode");
	shell_print(shell, "  2. audio status           - Check frame stats");
	shell_print(shell, "  3. audio stop             - Stop PDM / release I2S if it was in use");
#if CONFIG_PDM_SHELL_I2S_LOOPBACK
	shell_print(shell, "Optional (loopback build): audio i2s on — hear mic via I2S speaker");
#endif
	shell_print(shell, "");
	shell_print(shell, "Pipeline:");
	shell_print(shell, "  Mic -> PDM -> LC3 Encode -> BLE (normal / shell test)");
#if CONFIG_PDM_SHELL_I2S_LOOPBACK
	shell_print(shell, "       (optional) LC3 Decode -> I2S -> Speaker via `audio i2s on`");
#endif
	shell_print(shell, "");
	return 0;
}

static int cmd_audio_start(const struct shell *shell, size_t argc, char **argv)
{
	(void)argc;
	(void)argv;

	if (pdm_audio_stream_get_state() == PDM_AUDIO_STATE_STREAMING)
	{
		shell_print(shell, "");
		shell_warn(shell, "PDM shell test is already running");
		shell_print(shell, "Use 'audio stop' first");
		shell_print(shell, "");
		return 0;
	}

	shell_print(shell, "");
	shell_print(shell, "Starting audio system for shell test...");

	int ret = pdm_audio_stream_set_enabled(true);
	if (ret == -EALREADY)
	{
		shell_warn(shell, "PDM audio conversion already started");
		shell_print(shell, "Use 'audio stop' first");
		shell_print(shell, "");
		return 0;
	}
	else if (ret < 0)
	{
		shell_error(shell, "Failed to start PDM audio: %d", ret);
		return ret;
	}
	shell_print(shell, "  PDM capture + LC3 encode started");

	shell_print(shell, "");
	shell_print(shell, "Audio test system ready (BLE / encode path active)");
	shell_print(shell, "  Use audio status for frame counts");
#if CONFIG_PDM_SHELL_I2S_LOOPBACK
	shell_print(shell, "  Optional: audio i2s on  — local speaker loopback");
#endif
	shell_print(shell, "");
	return 0;
}

static int cmd_audio_stop(const struct shell *shell, size_t argc, char **argv)
{
	(void)argc;
	(void)argv;

	extern bool audio_i2s_is_initialized(void);
	extern void audio_i2s_uninit(void);

	bool stream_active = (pdm_audio_stream_get_state() == PDM_AUDIO_STATE_STREAMING);
	bool i2s_initialized = audio_i2s_is_initialized();

	if (!stream_active && !i2s_initialized)
	{
		shell_print(shell, "");
		shell_warn(shell, "Audio test system is already stopped");
		shell_print(shell, "Use 'audio start' to begin testing");
		shell_print(shell, "");
		return 0;
	}

	shell_print(shell, "");
	shell_print(shell, "Stopping audio test system...");

	if (stream_active)
	{
		shell_print(shell, "  Stopping PDM audio (fade-out + tail drop)...");
		int ret = pdm_audio_stream_set_enabled(false);
		if (ret == 0)
		{
			k_msleep(100);
			shell_print(shell, "  PDM audio stopped");
		}
		else if (ret < 0 && ret != -EALREADY)
		{
			shell_error(shell, "  Failed to stop PDM audio: %d", ret);
			return ret;
		}
	}

	if (i2s_initialized)
	{
#if CONFIG_PDM_SHELL_I2S_LOOPBACK
		(void)pdm_audio_set_i2s_output(false);
#endif
		shell_print(shell, "  Uninitializing I2S hardware...");
		audio_i2s_uninit();
		shell_print(shell, "  I2S hardware released");
	}

	shell_print(shell, "");
	shell_print(shell, "Audio test system stopped");
	shell_print(shell, "");
	return 0;
}

static int cmd_audio_status(const struct shell *shell, size_t argc, char **argv)
{
	(void)argc;
	(void)argv;

	extern bool audio_i2s_is_initialized(void);

	pdm_audio_state_t state = pdm_audio_stream_get_state();
	bool i2s_output = pdm_audio_get_i2s_output();
	bool i2s_initialized = audio_i2s_is_initialized();
	pdm_channel_t channel = pdm_audio_stream_get_channel();

	uint32_t frames_captured = 0;
	uint32_t frames_encoded = 0;
	uint32_t frames_transmitted = 0;
	uint32_t errors = 0;
	pdm_audio_stream_get_stats(&frames_captured, &frames_encoded, &frames_transmitted, &errors);

	shell_print(shell, "");
	shell_print(shell, "Audio System Status:");
	shell_print(shell, "  State           : %s", state_to_str(state));
	shell_print(shell, "  Mic Channel     : %s", channel_to_str(channel));
	shell_print(shell, "  I2S Loopback    : %s", i2s_output ? "Enabled" : "Disabled");
	shell_print(shell, "  I2S Hardware    : %s", i2s_initialized ? "Initialized" : "Not initialized");
	shell_print(shell, "");
	shell_print(shell, "Statistics:");
	shell_print(shell, "  Frames Captured : %u", (unsigned)frames_captured);
	shell_print(shell, "  Frames Encoded  : %u", (unsigned)frames_encoded);
	shell_print(shell, "  Frames Sent     : %u", (unsigned)frames_transmitted);
	shell_print(shell, "  Errors          : %u", (unsigned)errors);
	shell_print(shell, "");
	return 0;
}

static int cmd_audio_mic(const struct shell *shell, size_t argc, char **argv)
{
	if (argc != 2)
	{
		shell_error(shell, "Usage: audio mic <left|right|mix>");
		return -EINVAL;
	}

	pdm_channel_t channel;
	if (strcmp(argv[1], "left") == 0)
	{
		channel = PDM_CHANNEL_LEFT;
	}
	else if (strcmp(argv[1], "right") == 0)
	{
		channel = PDM_CHANNEL_RIGHT;
	}
	else if (strcmp(argv[1], "mix") == 0)
	{
		channel = PDM_CHANNEL_STEREO_MIXED;
	}
	else
	{
		shell_error(shell, "Invalid option '%s'. Use left, right, or mix.", argv[1]);
		return -EINVAL;
	}

	int ret = pdm_audio_stream_set_channel(channel);
	if (ret < 0)
	{
		shell_error(shell, "Failed to set mic channel: %d", ret);
		return ret;
	}

	shell_print(shell, "Mic channel set to %s", channel_to_str(channel));
	return 0;
}

#if CONFIG_PDM_SHELL_I2S_LOOPBACK
static int cmd_audio_i2s(const struct shell *shell, size_t argc, char **argv)
{
	if (argc != 2)
	{
		shell_error(shell, "Usage: audio i2s <on|off>");
		return -EINVAL;
	}

	bool enable;
	if (strcmp(argv[1], "on") == 0)
	{
		enable = true;
	}
	else if (strcmp(argv[1], "off") == 0)
	{
		enable = false;
	}
	else
	{
		shell_error(shell, "Invalid option '%s'. Use on or off.", argv[1]);
		return -EINVAL;
	}

	extern bool audio_i2s_is_initialized(void);
	extern bool audio_i2s_is_started(void);
	extern void audio_i2s_init(void);
	extern void audio_i2s_start(void);
	extern void audio_i2s_stop(void);
	extern void audio_i2s_uninit(void);

	if (enable)
	{
		bool was_initialized = audio_i2s_is_initialized();
		if (!was_initialized)
		{
			audio_i2s_init();
			if (!audio_i2s_is_initialized())
			{
				shell_error(shell, "Failed to initialize I2S hardware");
				return -EIO;
			}
			i2s_manual_session = true;
		}
		if (!audio_i2s_is_started())
		{
			audio_i2s_start();
		}

		int rc = pdm_audio_set_i2s_output(true);
		if (rc < 0)
		{
			if (i2s_manual_session)
			{
				if (audio_i2s_is_started())
				{
					audio_i2s_stop();
				}
				audio_i2s_uninit();
				i2s_manual_session = false;
			}
			shell_error(shell, "Failed to enable I2S loopback: %d", rc);
			return rc;
		}
	}
	else
	{
		int rc = pdm_audio_set_i2s_output(false);
		if (rc < 0)
		{
			shell_error(shell, "Failed to disable I2S loopback: %d", rc);
			return rc;
		}

		if (i2s_manual_session)
		{
			if (audio_i2s_is_initialized())
			{
				if (audio_i2s_is_started())
				{
					audio_i2s_stop();
				}
				audio_i2s_uninit();
			}
			i2s_manual_session = false;
		}
	}

	shell_print(shell, "I2S loopback %s", enable ? "enabled" : "disabled");
	return 0;
}
#endif

/* Audio control commands / 音频控制命令 */
SHELL_STATIC_SUBCMD_SET_CREATE(sub_audio,
	SHELL_CMD(help,   NULL, "Show audio help",    cmd_audio_help),
	SHELL_CMD(start,  NULL, "Start audio test",   cmd_audio_start),
	SHELL_CMD(stop,   NULL, "Stop audio test",    cmd_audio_stop),
	SHELL_CMD(status, NULL, "Show audio status",  cmd_audio_status),
	SHELL_CMD(mic,    NULL, "Select mic channel", cmd_audio_mic),
#if CONFIG_PDM_SHELL_I2S_LOOPBACK
	SHELL_CMD(i2s,    NULL, "Toggle I2S loopback", cmd_audio_i2s),
#endif
	SHELL_SUBCMD_SET_END
);

SHELL_CMD_REGISTER(audio, &sub_audio,
#if CONFIG_PDM_SHELL_I2S_LOOPBACK
		   "Audio test (PDM + optional I2S loopback)",
#else
		   "Audio test (PDM + LC3; no I2S loopback)",
#endif
		   cmd_audio_help);
```
